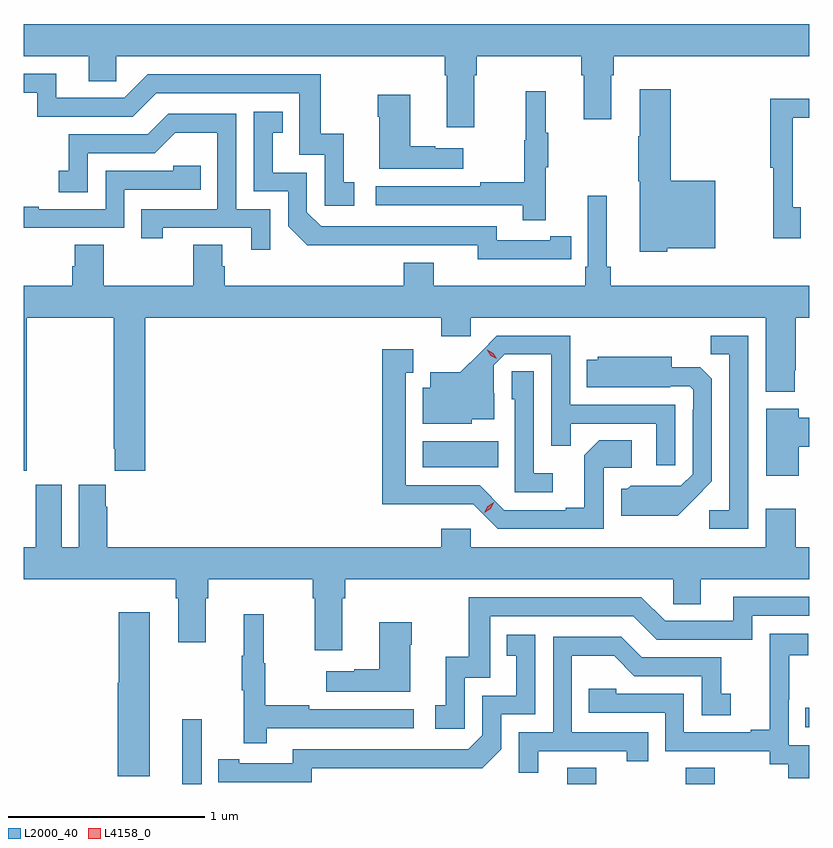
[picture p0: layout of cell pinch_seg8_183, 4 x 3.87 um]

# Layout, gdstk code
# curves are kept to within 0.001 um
import gdstk
lib = gdstk.Library(unit=1e-6, precision=1e-09)
def R(c, l, rs):  # rectangles x0, y0, x1, y1
    for r in rs: c.add(gdstk.rectangle(r[:2], r[2:], *l))
def P(c, l, *ps):  # polygons
    for p in ps: c.add(gdstk.Polygon(p, *l))
L2000_40 = (2000, 40)
L4158_0 = (4158, 0)

pinch_seg8_183 = lib.new_cell('pinch_seg8_183')
R(pinch_seg8_183, L2000_40, [(684.044,1146.093,684.141,1146.424), (686.003,1146.093,686.151,1146.176), (686.608,1146.093,686.755,1146.176), (687.217,1146.381,687.236,1146.482), (685.268,1147.706,685.652,1147.84)])
P(pinch_seg8_183, L2000_40, [(685.531,1149.704),(685.544,1149.704),(685.544,1149.8),(686.075,1149.8),(686.075,1149.704),(686.087,1149.704),(686.087,1149.48),(686.227,1149.48),(686.227,1149.704),(686.24,1149.704),(686.24,1149.8),(687.236,1149.8),(687.236,1149.964),(683.236,1149.964),(683.236,1149.8),(683.567,1149.8),(683.567,1149.673),(683.706,1149.673),(683.706,1149.8),(685.379,1149.8),(685.379,1149.704),(685.391,1149.704),(685.391,1149.438),(685.531,1149.438)],
  [(684.919,1149.159),(684.866,1149.159),(684.866,1149.406),(684.748,1149.406),(684.748,1149.708),(683.868,1149.708),(683.748,1149.588),(683.401,1149.588),(683.401,1149.711),(683.236,1149.711),(683.236,1149.615),(683.304,1149.615),(683.304,1149.492),(683.79,1149.492),(683.91,1149.612),(684.639,1149.612),(684.639,1149.297),(684.768,1149.297),(684.768,1149.039),(684.919,1149.039)],
  [(686.514,1148.822),(686.758,1148.822),(686.758,1149.166),(686.531,1149.166),(686.531,1149.631),(686.372,1149.631),(686.372,1149.392),(686.365,1149.392),(686.365,1149.162),(686.372,1149.162),(686.372,1148.804),(686.514,1148.804)],
  [(685.895,1149.235),(685.906,1149.235),(685.906,1149.409),(685.895,1149.409),(685.895,1149.622),(685.792,1149.622),(685.792,1149.372),(685.785,1149.372),(685.785,1149.158),(685.561,1149.158),(685.561,1149.138),(685.029,1149.138),(685.029,1149.042),(685.777,1149.042),(685.777,1148.964),(685.895,1148.964)],
  [(685.474,1149.331),(685.331,1149.331),(685.331,1149.341),(685.204,1149.341),(685.204,1149.604),(685.039,1149.604),(685.039,1149.491),(685.046,1149.491),(685.046,1149.227),(685.474,1149.227)],
  [(687.193,1149.03),(687.153,1149.03),(687.153,1149.486),(687.236,1149.486),(687.236,1149.584),(687.037,1149.584),(687.037,1149.233),(687.052,1149.233),(687.052,1148.874),(687.193,1148.874)],
  [(685.916,1148.766),(686.024,1148.766),(686.024,1148.882),(685.916,1148.882),(685.916,1148.862),(685.644,1148.862),(685.644,1148.934),(684.75,1148.934),(684.678,1149.006),(684.678,1149.207),(684.505,1149.207),(684.505,1149.411),(684.554,1149.411),(684.554,1149.517),(684.408,1149.517),(684.408,1149.111),(684.582,1149.111),(684.582,1148.934),(684.68,1148.837),(685.548,1148.838),(685.548,1148.765)],
  [(684.492,1149.021),(684.318,1149.021),(684.318,1149.507),(683.972,1149.507),(683.867,1149.402),(683.464,1149.402),(683.464,1149.217),(683.415,1149.217),(683.415,1149.108),(683.562,1149.108),(683.562,1149.306),(683.904,1149.306),(684.008,1149.41),(684.222,1149.41),(684.222,1149.021),(683.833,1149.021),(683.833,1148.874),(683.944,1148.874),(683.944,1148.925),(684.395,1148.925),(684.395,1148.814),(684.492,1148.814)],
  [(683.748,1149.12),(684.137,1149.12),(684.137,1149.243),(683.997,1149.243),(683.997,1149.216),(683.652,1149.216),(683.652,1149.021),(683.311,1149.021),(683.311,1149.034),(683.236,1149.034),(683.236,1148.925),(683.748,1148.925)],
  [(683.695,1147.801),(683.699,1147.801),(683.699,1147.689),(683.855,1147.689),(683.855,1148.468),(685.361,1148.468),(685.361,1148.373),(685.512,1148.373),(685.512,1148.468),(687.014,1148.468),(687.014,1148.09),(687.162,1148.09),(687.162,1148.2),(687.167,1148.2),(687.167,1148.468),(687.236,1148.468),(687.236,1148.632),(686.225,1148.632),(686.225,1148.728),(686.206,1148.728),(686.206,1149.088),(686.109,1149.088),(686.109,1148.728),(686.096,1148.728),(686.096,1148.632),(685.324,1148.632),(685.324,1148.749),(685.172,1148.749),(685.172,1148.632),(684.26,1148.632),(684.26,1148.73),(684.247,1148.73),(684.247,1148.84),(684.1,1148.84),(684.1,1148.632),(683.643,1148.632),(683.643,1148.84),(683.495,1148.84),(683.495,1148.73),(683.483,1148.73),(683.483,1148.632),(683.236,1148.632),(683.236,1147.689),(683.25,1147.689),(683.25,1148.468),(683.695,1148.468)],
  [(686.553,1148.025),(686.019,1148.025),(686.019,1148.376),(685.646,1148.376),(685.459,1148.191),(685.307,1148.191),(685.307,1148.11),(685.268,1148.11),(685.268,1147.928),(685.518,1147.928),(685.518,1147.952),(685.633,1147.952),(685.633,1148.084),(685.629,1148.084),(685.629,1148.226),(685.686,1148.283),(685.923,1148.283),(685.923,1147.816),(686.021,1147.816),(686.021,1147.929),(686.457,1147.929),(686.457,1147.716),(686.553,1147.716)],
  [(686.925,1148.376),(686.734,1148.376),(686.734,1148.281),(686.829,1148.281),(686.829,1147.488),(686.727,1147.488),(686.727,1147.392),(686.925,1147.392)],
  [(686.19,1147.704),(686.332,1147.704),(686.332,1147.844),(686.167,1147.844),(686.091,1147.768),(686.091,1147.501),(685.997,1147.501),(685.997,1147.488),(685.683,1147.488),(685.557,1147.614),(685.18,1147.614),(685.18,1148.187),(685.219,1148.187),(685.219,1148.308),(685.062,1148.308),(685.062,1147.517),(685.524,1147.518),(685.65,1147.392),(686.19,1147.392)],
  [(686.647,1147.541),(686.739,1147.634),(686.739,1148.156),(686.68,1148.215),(686.536,1148.215),(686.536,1148.269),(686.16,1148.269),(686.16,1148.254),(686.104,1148.254),(686.104,1148.114),(686.528,1148.114),(686.528,1148.118),(686.628,1148.118),(686.646,1148.1),(686.646,1148),(686.643,1148),(686.643,1147.671),(686.583,1147.611),(686.326,1147.612),(686.31,1147.596),(686.279,1147.596),(686.279,1147.46),(686.567,1147.46)],
  [(685.93,1147.675),(685.833,1147.675),(685.833,1148.195),(685.722,1148.195),(685.722,1148.052),(685.737,1148.052),(685.737,1147.578),(685.93,1147.578)],
  [(687.184,1147.811),(687.236,1147.811),(687.236,1147.958),(687.184,1147.958),(687.184,1148.005),(687.017,1148.005),(687.017,1147.662),(687.184,1147.662)],
  [(684.859,1147.04),(684.872,1147.04),(684.872,1147.136),(686.544,1147.136),(686.544,1147.009),(686.683,1147.009),(686.683,1147.136),(687.236,1147.136),(687.236,1147.3),(687.167,1147.3),(687.167,1147.495),(687.014,1147.495),(687.014,1147.3),(685.512,1147.3),(685.512,1147.393),(685.361,1147.393),(685.361,1147.3),(683.66,1147.3),(683.66,1147.505),(683.653,1147.505),(683.653,1147.618),(683.516,1147.618),(683.516,1147.3),(683.428,1147.3),(683.428,1147.618),(683.297,1147.618),(683.297,1147.3),(683.236,1147.3),(683.236,1147.136),(684.011,1147.136),(684.011,1147.04),(684.023,1147.04),(684.023,1146.816),(684.163,1146.816),(684.163,1147.04),(684.176,1147.04),(684.176,1147.136),(684.707,1147.136),(684.707,1147.04),(684.719,1147.04),(684.719,1146.774),(684.859,1146.774)],
  [(685.482,1146.633),(685.611,1146.633),(685.611,1146.948),(686.34,1146.948),(686.46,1146.828),(686.946,1146.828),(686.946,1146.951),(687.236,1146.951),(687.236,1147.047),(686.849,1147.047),(686.849,1146.924),(686.502,1146.924),(686.382,1147.044),(685.503,1147.044),(685.503,1146.742),(685.385,1146.742),(685.385,1146.495),(685.332,1146.495),(685.332,1146.375),(685.482,1146.375)],
  [(683.878,1146.967),(683.72,1146.967),(683.72,1146.609),(683.714,1146.609),(683.714,1146.132),(683.878,1146.132)],
  [(684.473,1146.378),(685.222,1146.378),(685.222,1146.474),(684.689,1146.474),(684.689,1146.494),(684.466,1146.494),(684.466,1146.708),(684.458,1146.708),(684.458,1146.958),(684.356,1146.958),(684.356,1146.745),(684.345,1146.745),(684.345,1146.571),(684.356,1146.571),(684.356,1146.3),(684.473,1146.3)],
  [(685.204,1146.803),(685.212,1146.803),(685.212,1146.916),(685.046,1146.916),(685.046,1146.677),(684.92,1146.677),(684.92,1146.667),(684.777,1146.667),(684.777,1146.563),(685.204,1146.563)],
  [(687.236,1146.291),(687.132,1146.291),(687.132,1146.521),(687.134,1146.521),(687.134,1146.749),(687.232,1146.749),(687.232,1146.859),(687.034,1146.859),(687.034,1146.653),(687.035,1146.653),(687.035,1146.37),(686.939,1146.37),(686.939,1146.357),(686.598,1146.357),(686.598,1146.552),(686.253,1146.552),(686.253,1146.579),(686.113,1146.579),(686.113,1146.456),(686.502,1146.456),(686.502,1146.261),(687.036,1146.261),(687.036,1146.193),(687.129,1146.193),(687.129,1146.123),(687.236,1146.123)],
  [(684.702,1146.174),(685.57,1146.173),(685.668,1146.27),(685.668,1146.447),(685.842,1146.447),(685.842,1146.853),(685.696,1146.853),(685.696,1146.747),(685.745,1146.747),(685.745,1146.543),(685.572,1146.543),(685.572,1146.342),(685.5,1146.27),(684.606,1146.27),(684.606,1146.198),(684.334,1146.198),(684.334,1146.218),(684.226,1146.218),(684.226,1146.102),(684.702,1146.101)],
  [(685.855,1146.261),(686.306,1146.261),(686.306,1146.21),(686.417,1146.21),(686.417,1146.357),(686.028,1146.357),(686.028,1146.746),(686.242,1146.746),(686.346,1146.642),(686.688,1146.642),(686.688,1146.444),(686.836,1146.444),(686.836,1146.553),(686.787,1146.553),(686.787,1146.738),(686.383,1146.738),(686.278,1146.843),(685.932,1146.843),(685.932,1146.357),(685.758,1146.357),(685.758,1146.15),(685.855,1146.15)])
P(pinch_seg8_183, L4158_0, [(685.645,1148.258),(685.614,1148.274),(685.597,1148.303),(685.597,1148.304),(685.597,1148.304),(685.628,1148.288),(685.646,1148.259),(685.646,1148.258)],
  [(685.581,1147.475),(685.581,1147.475),(685.598,1147.508),(685.63,1147.528),(685.63,1147.528),(685.63,1147.528),(685.613,1147.495),(685.582,1147.475)])

lib.write_gds('pinch_seg8_183.gds')
